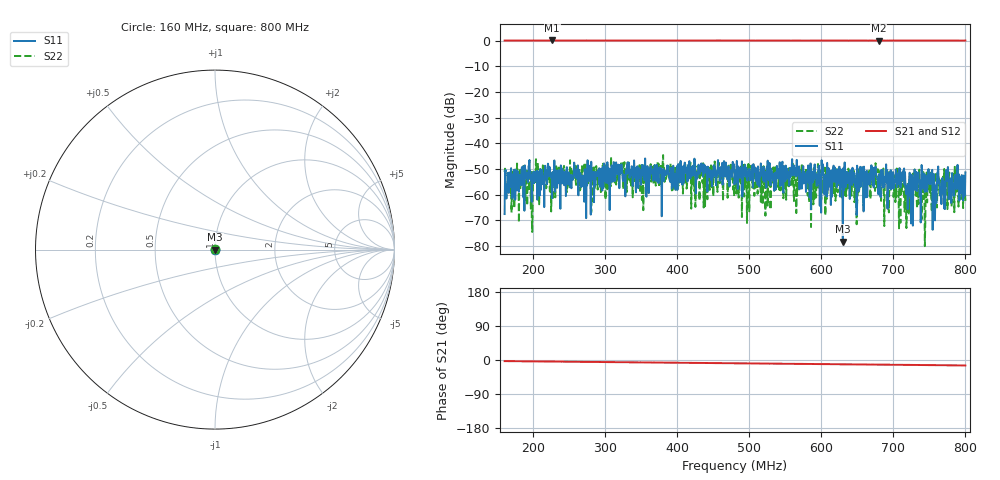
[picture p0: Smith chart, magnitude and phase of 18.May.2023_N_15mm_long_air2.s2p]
!Keysight Technologies N9950B: A.12.38
!Date: Thursday, 18 May 2023 17:10:08
!Timezone: (UTC-06:00) Central Time (US & Canada)
!Model: N9950B
!Serial: MY61131330
!GPS Latitude:
!GPS Longitude:
!GPS TimeStamp: 0001-01-01 00:00:00Z
!GPS Seconds Since Last Read: 0
!CHECKSUM:0272693462
!Correction: S11(ON U)S21(ON U)S12(ON U)S22(ON U)
!S2P File: Measurements:S11,S21,S12,S22:
# Hz S DB R 50
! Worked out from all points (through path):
!   1001 points, 160 MHz to 800 MHz, reference 50 ohm
!   highest |S21| = 0.02 dB at 225.9 MHz (marker M1); lowest = -0.1 dB at 679.7 MHz (marker M2)
!   group delay of S21, straight-line fit = 49.7 ps
!   lowest |S11| = -78.2 dB at 629.8 MHz (marker M3), VSWR 1.00, Z = 50 + j0.00589 ohm
!   |S11| at or under -10 dB: start of sweep to end of sweep
!   |S22| runs from -80.0 to -44.6 dB; largest |S21 - S12| = 0.0063
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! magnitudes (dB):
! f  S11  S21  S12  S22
! 160 MHz  -67.5  0.0  0.0  -51.2
! 163.8 MHz  -57.8  0.0  0.0  -51.8
! 191.4 MHz  -51.6  0.0  0.0  -64.2
! 197.1 MHz  -52.3  0.0  0.0  -51.2
! 202.9 MHz  -53.4  0.0  0.0  -53.4
! 213.1 MHz  -55.9  0.0  0.0  -48.6
! 225.9 MHz  -61.3  0.0  0.0  -53.1
! 234.9 MHz  -50.4  0.0  0.0  -49.5
! 266.9 MHz  -54.0  0.0  0.0  -52.4
! 373.8 MHz  -55.5  0.0  0.0  -48.0
! 480 MHz  -53.0  0.0  0.0  -51.7
! 564.5 MHz  -52.9  0.0  0.0  -52.6
! 571.5 MHz  -51.7  0.0  0.0  -54.6
! 586.9 MHz  -52.7  0.0  0.0  -54.1
! 629.8 MHz  -78.2  0.0  0.0  -59.4
! 679.7 MHz  -54.8  -0.1  0.0  -56.2
! 693.8 MHz  -52.8  0.0  0.0  -66.9
! 718.1 MHz  -59.8  0.0  0.0  -73.0
! 723.8 MHz  -57.6  0.0  0.0  -55.5
! 731.5 MHz  -51.1  0.0  0.0  -53.4
! 757.8 MHz  -70.0  0.0  0.0  -52.7
! 800 MHz  -51.3  0.0  0.0  -62.4
